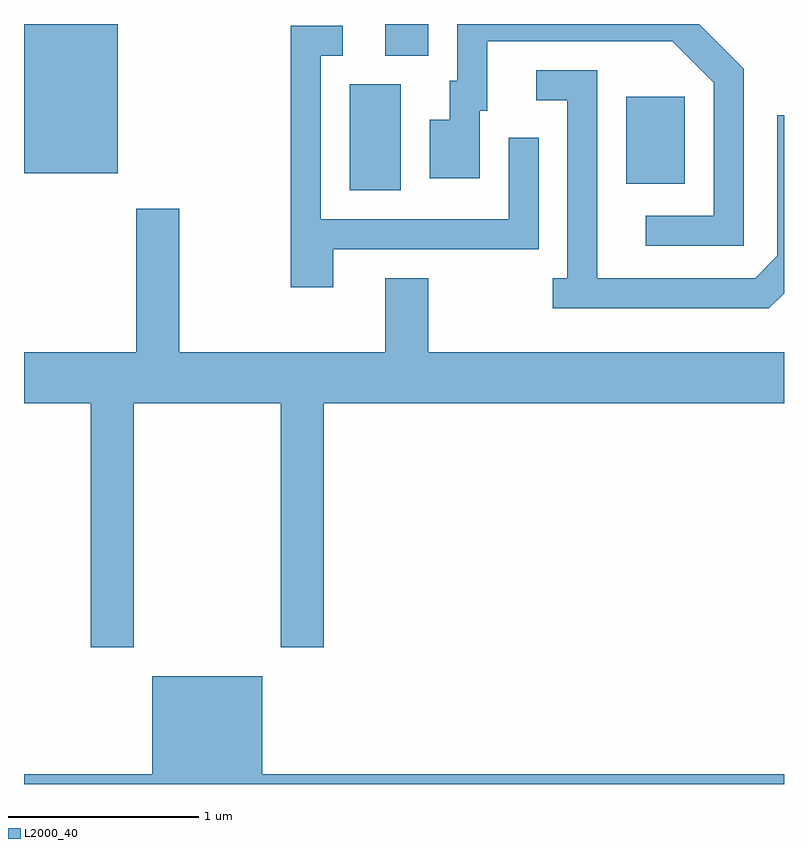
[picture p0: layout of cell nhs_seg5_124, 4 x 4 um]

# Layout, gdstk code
import gdstk
lib = gdstk.Library(unit=1e-6, precision=1e-09)
def R(c, l, rs):  # rectangles x0, y0, x1, y1
    for r in rs: c.add(gdstk.rectangle(r[:2], r[2:], *l))
def P(c, l, *ps):  # polygons
    for p in ps: c.add(gdstk.Polygon(p, *l))
L2000_40 = (2000, 40)

nhs_seg5_124 = lib.new_cell('nhs_seg5_124')
R(nhs_seg5_124, L2000_40, [(189.326,1511.196,189.594,1511.754), (190.781,1511.231,191.089,1511.689), (187.611,1511.286,188.104,1512.072), (189.511,1511.906,189.739,1512.072)])
P(nhs_seg5_124, L2000_40, [(191.399,1511.837),(191.164,1512.072),(189.891,1512.072),(189.891,1511.774),(189.851,1511.774),(189.851,1511.569),(189.746,1511.569),(189.746,1511.261),(190.009,1511.261),(190.009,1511.616),(190.049,1511.616),(190.049,1511.981),(191.024,1511.981),(191.241,1511.764),(191.241,1511.064),(190.883,1511.064),(190.883,1510.906),(191.399,1510.906)],
  [(189.239,1510.886),(190.319,1510.886),(190.319,1511.473),(190.161,1511.473),(190.161,1511.044),(189.174,1511.044),(189.174,1511.906),(189.288,1511.906),(189.288,1512.064),(189.016,1512.064),(189.016,1510.686),(189.239,1510.686)],
  [(191.611,1510.655),(191.611,1511.593),(191.576,1511.593),(191.576,1510.852),(191.459,1510.734),(190.629,1510.734),(190.629,1511.829),(190.308,1511.829),(190.308,1511.671),(190.471,1511.671),(190.471,1510.734),(190.393,1510.734),(190.393,1510.576),(191.532,1510.576)],
  [(188.189,1510.076),(188.961,1510.076),(188.961,1508.791),(189.189,1508.791),(189.189,1510.076),(191.611,1510.076),(191.611,1510.344),(189.739,1510.344),(189.739,1510.734),(189.511,1510.734),(189.511,1510.344),(188.429,1510.344),(188.429,1511.099),(188.201,1511.099),(188.201,1510.344),(187.611,1510.344),(187.611,1510.076),(187.961,1510.076),(187.961,1508.791),(188.189,1508.791)],
  [(191.611,1508.124),(188.864,1508.124),(188.864,1508.639),(188.286,1508.639),(188.286,1508.124),(187.611,1508.124),(187.611,1508.072),(191.611,1508.072)])

lib.write_gds('nhs_seg5_124.gds')
